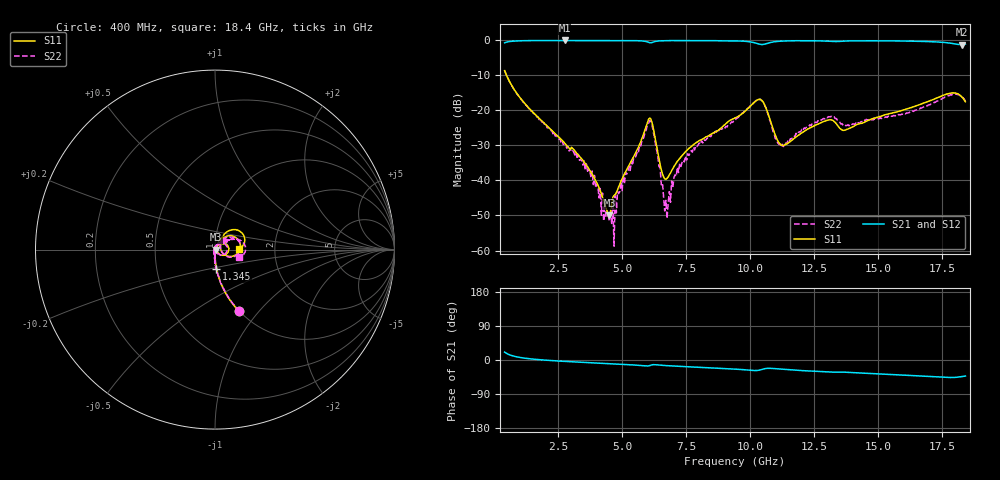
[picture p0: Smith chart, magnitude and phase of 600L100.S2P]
!  American Technical Ceramics  Date:  10/27/06
!  One Norden Lane
!  Huntington Station,  NY.  11746-2102
!  Tel:  (631) 622-4700  Fax:  (631) 622-4748
!  Part Number  600L100		Mounting Orientation:  Horizontal
!  Description: Ultra Low ESR Microwave capacitors
!  Application: Coupling, Bypass, Tuning, DC Block
!  Filters, Matching
# GHZ S DB R 50
! Freq  |S11|  S11 Ph  |S21|  S21 Ph  |S12|  S12 Ph  |S22|  S22 Ph
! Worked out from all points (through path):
!   401 points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, 400 MHz to 18.4 GHz, reference 50 ohm
!   highest |S21| = -0.01 dB at 2.74 GHz (marker M1); lowest = -1.2 dB at 18.27 GHz (marker M2)
!   group delay of S21, straight-line fit = 7.88 ps
!   lowest |S11| = -50.0 dB at 4.495 GHz (marker M3), VSWR 1.01, Z = 50.3 - j0.0276 ohm
!   |S11| at or under -10 dB: 478.3 MHz to end of sweep
!   |S22| runs from -58.8 to -8.6 dB; largest |S21 - S12| = 0.0017
!   S11 on the Smith chart (normalised r, x): 400 MHz: 1.00, -0.79; 1.345 GHz: 0.99, -0.22; 18.4 GHz: 1.31, +0.02
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0.4  -8.64 -68.5  -0.68 20.9  -0.68 21.0  -8.62 -68.4
1.345  -19.30 -85.8  -0.06 3.5  -0.06 3.5  -19.45 -87.1
2.74  -29.29 -91.4  -0.01 -3.6  -0.02 -3.6  -29.65 -94.5
3.415  -33.83 -89.4  -0.02 -6.2  -0.02 -6.1  -34.29 -92.6
4.495  -49.96 -5.0  -0.03 -9.7  -0.03 -9.7  -51.60 104.2
4.675  -44.25 24.4  -0.02 -10.3  -0.02 -10.3  -58.76 94.3
4.945  -40.20 47.0  -0.03 -11.2  -0.03 -11.2  -40.31 101.6
6.025  -22.54 17.6  -0.55 -15.5  -0.55 -15.5  -23.67 22.9
6.16  -23.48 -24.0  -0.59 -12.8  -0.58 -12.7  -24.10 -23.6
6.43  -33.82 -44.8  -0.15 -13.4  -0.14 -13.3  -36.01 -64.8
6.7  -39.64 5.0  -0.07 -14.8  -0.07 -14.7  -45.69 -2.4
7.15  -34.51 50.3  -0.05 -16.5  -0.05 -16.5  -36.18 70.7
7.465  -31.80 56.8  -0.05 -17.5  -0.05 -17.5  -33.02 68.0
9.4  -22.13 55.3  -0.15 -23.9  -0.15 -23.9  -22.88 51.1
10.39  -16.87 7.5  -1.13 -26.1  -1.13 -26.1  -16.79 3.6
11.245  -30.03 7.1  -0.20 -24.4  -0.19 -24.4  -29.65 12.9
12.415  -24.69 48.8  -0.10 -29.5  -0.09 -29.5  -23.77 50.7
13.135  -22.66 39.3  -0.25 -32.0  -0.25 -31.9  -21.77 39.2
13.675  -25.66 45.1  -0.19 -32.1  -0.19 -32.0  -24.10 34.8
15.43  -20.90 59.9  -0.13 -38.1  -0.13 -38.0  -21.85 39.0
18.265  -16.18 7.4  -1.18 -43.7  -1.19 -43.7  -16.14 -11.5
18.4  -17.51 2.5  -1.09 -42.5  -1.09 -42.4  -17.25 -17.2
